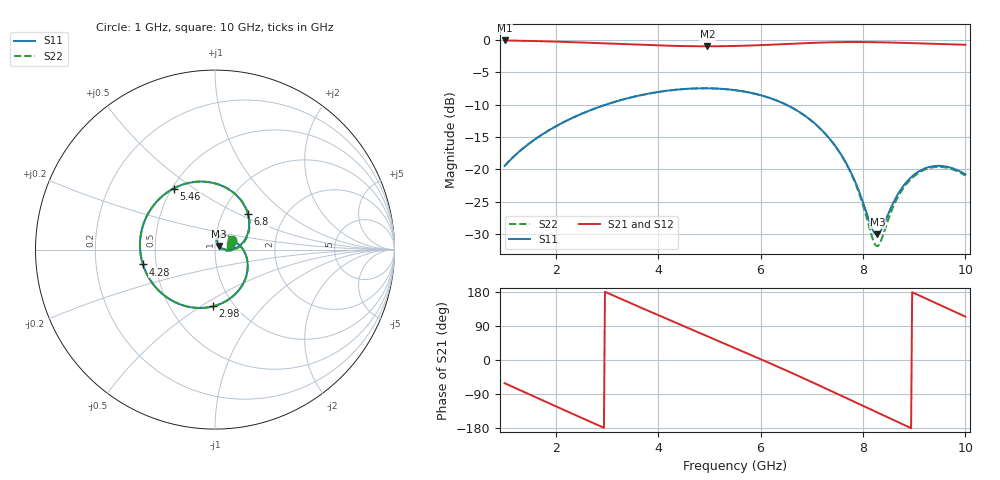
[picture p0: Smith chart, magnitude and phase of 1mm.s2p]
! Touchstone file exported from HFSS 2018.2.0
!  File:  C:/Users/10024/OneDrive - The University of Nottingham Ningbo China/Year 4/Final Year Project/HFSS project/Passive_Resonator_Antenna.aedt
!  Generated:  5:07:43 下午  3月 11, 2022
!  Design:  SMA_Thru
!  Project:  Passive_Resonator_Antenna
!  Setup:  Setup1
!  Solution:  Sweep
! Variables:
!  MW = 1mm
!  ThruL = 10mm
!  g = 0.2mm
!  subH = 0.8mm
!  subX = 20mm
!  subY = 20mm
!  tapW = 1.992mm
# GHZ S MA R 50.000000
! Modal data exported
! Port[1] = SMA_CONNECTOR1_1:1
! Port[2] = SMA_CONNECTOR2_1:1
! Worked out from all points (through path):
!   451 points, 1 GHz to 10 GHz, reference 50 ohm
!   highest |S21| = -0.06 dB at 1 GHz (marker M1); lowest = -1.0 dB at 4.96 GHz (marker M2)
!   group delay of S21, straight-line fit = 167 ps
!   lowest |S11| = -30.1 dB at 8.28 GHz (marker M3), VSWR 1.06, Z = 52.3 + j2.18 ohm
!   |S11| at or under -10 dB: start of sweep to 2.977 GHz; 6.499 GHz to end of sweep
!   |S22| runs from -31.9 to -7.5 dB; largest |S21 - S12| = 2.3e-14
!   S11 on the Smith chart (normalised r, x): 1 GHz: 1.20, +0.12; 2.98 GHz: 0.80, -0.56; 4.28 GHz: 0.42, -0.08; 5.46 GHz: 0.51, +0.42; 6.8 GHz: 1.31, +0.56; 10 GHz: 1.19, +0.05
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1  0.106 28.5  0.9931 -61.2  0.9931 -61.2  0.106 28.8
! Gamma ! 0.0151858380091386 30.3716836111967 0.0151858380091316 30.3716836111687
! Port Impedance50 0 50 0
1.36  0.1451 6.4  0.9874 -83.2  0.9874 -83.2  0.1451 6.6
1.72  0.1843 -15.7  0.9798 -105.2  0.9798 -105.2  0.1843 -15.5
2.08  0.2235 -37.7  0.9706 -127.1  0.9706 -127.1  0.2235 -37.5
2.5  0.2683 -63.2  0.9579 -152.5  0.9579 -152.5  0.2683 -63.0
2.98  0.3166 -92.1  0.9417 178.7  0.9417 178.7  0.3165 -91.9
3.46  0.359 -120.6  0.9252 150.2  0.9252 150.2  0.359 -120.4
4  0.3964 -152.2  0.9089 118.5  0.9089 118.5  0.3963 -152.1
4.28  0.4101 -168.4  0.9023 102.2  0.9023 102.2  0.4101 -168.3
4.96  0.4234 152.7  0.8951 62.8  0.8951 62.8  0.4233 152.6
5.46  0.4114 124.2  0.8995 33.9  0.8995 33.9  0.4113 124.0
5.5  0.4095 121.9  0.9002 31.6  0.9002 31.6  0.4095 121.7
6.16  0.3582 84.2  0.9189 -7.2  0.9189 -7.2  0.3581 83.8
6.8  0.2705 47.5  0.9435 -45.9  0.9435 -45.9  0.2703 46.6
7  0.2364 36.2  0.9507 -58.2  0.9507 -58.2  0.2361 35.1
7.64  0.1173 4.5  0.965 -98.3  0.965 -98.3  0.1163 1.9
8.28  0.03127 41.8  0.9622 -138.6  0.9622 -138.6  0.02538 41.3
8.5  0.04575 72.8  0.9581 -152.4  0.9581 -152.4  0.04159 78.2
8.8  0.07528 73.0  0.9509 -171.2  0.9509 -171.2  0.07259 76.8
9.2  0.1012 55.5  0.9405 164.0  0.9405 164.0  0.09905 58.2
9.64  0.1046 32.1  0.9294 136.7  0.9294 136.7  0.1026 34.3
10  0.09118 13.7  0.9199 114.4  0.9199 114.4  0.08935 16.0
